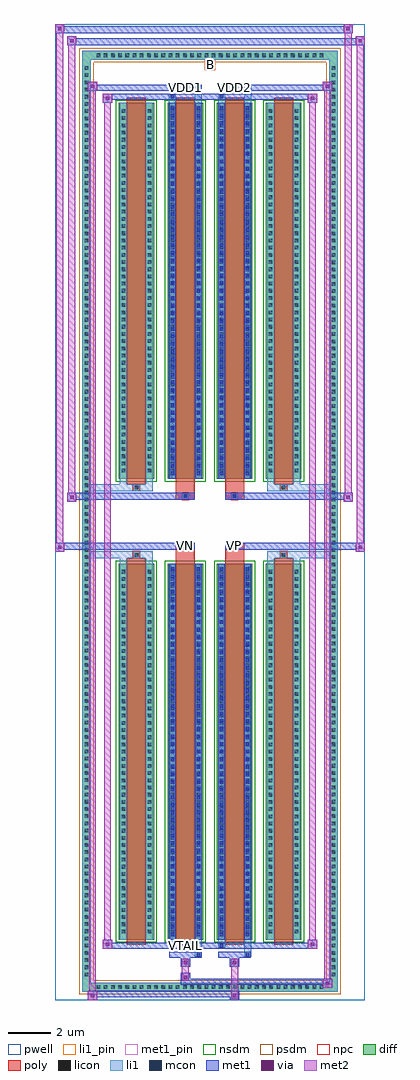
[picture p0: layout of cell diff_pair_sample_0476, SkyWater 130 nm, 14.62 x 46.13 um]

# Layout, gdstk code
import gdstk
lib = gdstk.Library(unit=1e-6, precision=5e-09)
def R(c, l, rs):  # rectangles x0, y0, x1, y1
    for r in rs: c.add(gdstk.rectangle(r[:2], r[2:], *l))
def A(c, l, x, y, w, h, nx, ny, dx, dy):  # array of equal rectangles
    R(c, l, [(x+i*dx, y+j*dy, x+i*dx+w, y+j*dy+h) for i in range(nx) for j in range(ny)])
def P(c, l, *ps):  # polygons
    for p in ps: c.add(gdstk.Polygon(p, *l))
pwell = (64, 44)
diff = (65, 20)
poly = (66, 20)
licon = (66, 44)
li1_pin = (67, 16)
li1 = (67, 20)
mcon = (67, 44)
met1_pin = (68, 16)
met1 = (68, 20)
via = (68, 44)
met2 = (69, 20)
nsdm = (93, 44)
psdm = (94, 20)
npc = (95, 20)

diff_pair_sample_0476 = lib.new_cell('diff_pair_sample_0476')
R(diff_pair_sample_0476, pwell, [(-7.31,-22.63,7.31,23.5), (-4.63,-20.82,-0.01,-0.82), (0.01,-20.82,4.63,-0.82), (-4.63,0.82,-0.01,20.82), (0.01,0.82,4.63,20.82)])
A(diff_pair_sample_0476, diff, -5.475, -22.23, 0.41, 0.41, 32, 2, 0.34, 44.05)
A(diff_pair_sample_0476, diff, -6.04, -21.625, 0.41, 0.41, 1, 127, 0, 0.34)
A(diff_pair_sample_0476, diff, 5.63, -21.625, 0.41, 0.41, 1, 127, 0, 0.34)
A(diff_pair_sample_0476, diff, -4.32, -19.775, 1.68, 17.77, 4, 2, 2.32, 21.78)
R(diff_pair_sample_0476, diff, [(-5.475,-22.23,5.475,-21.82), (-6.04,-21.625,-5.63,21.625), (5.63,-21.625,6.04,21.625), (-5.475,21.82,5.475,22.23)])
P(diff_pair_sample_0476, diff, [(6.04,22.23),(-6.04,22.23),(-6.04,-21.82),(-5.63,-21.82),(-5.63,21.82),(5.63,21.82),(5.63,-21.82),(-5.63,-21.82),(-6.04,-21.82),(-6.04,-22.23),(6.04,-22.23)])
A(diff_pair_sample_0476, poly, -3.93, -20.025, 0.9, 18.27, 4, 2, 2.32, 21.78)
R(diff_pair_sample_0476, poly, [(-3.645,-1.755,-3.315,-1.425), (-3.645,-1.755,-3.315,-1.425), (-1.61,-1.755,-0.71,-1.35), (0.71,-1.755,1.61,-1.35), (3.315,-1.755,3.645,-1.425), (3.315,-1.755,3.645,-1.425), (-1.61,-1.35,-0.71,-1.02), (-1.325,-1.35,-0.995,-1.02), (0.71,-1.35,1.61,-1.02), (0.995,-1.35,1.325,-1.02), (-1.61,1.02,-0.71,1.35), (-1.325,1.02,-0.995,1.35), (0.71,1.02,1.61,1.35), (0.995,1.02,1.325,1.35), (-1.61,1.35,-0.71,1.755), (0.71,1.35,1.61,1.755), (-3.645,1.425,-3.315,1.755), (-3.645,1.425,-3.315,1.755), (3.315,1.425,3.645,1.755), (3.315,1.425,3.645,1.755)])
A(diff_pair_sample_0476, licon, -5.355, -22.11, 0.17, 0.17, 32, 2, 0.34, 44.05)
A(diff_pair_sample_0476, licon, -5.92, -21.505, 0.17, 0.17, 1, 127, 0, 0.34)
A(diff_pair_sample_0476, licon, 5.75, -21.505, 0.17, 0.17, 1, 127, 0, 0.34)
A(diff_pair_sample_0476, licon, -4.18, -19.475, 0.17, 0.17, 1, 51, 0, 0.34)
A(diff_pair_sample_0476, licon, -2.95, -19.475, 0.17, 0.17, 1, 51, 0, 0.34)
A(diff_pair_sample_0476, licon, -1.86, -19.475, 0.17, 0.17, 1, 51, 0, 0.34)
A(diff_pair_sample_0476, licon, -0.63, -19.475, 0.17, 0.17, 1, 51, 0, 0.34)
A(diff_pair_sample_0476, licon, 0.46, -19.475, 0.17, 0.17, 1, 51, 0, 0.34)
A(diff_pair_sample_0476, licon, 1.69, -19.475, 0.17, 0.17, 1, 51, 0, 0.34)
A(diff_pair_sample_0476, licon, 2.78, -19.475, 0.17, 0.17, 1, 51, 0, 0.34)
A(diff_pair_sample_0476, licon, 4.01, -19.475, 0.17, 0.17, 1, 51, 0, 0.34)
A(diff_pair_sample_0476, licon, -4.18, 2.305, 0.17, 0.17, 1, 51, 0, 0.34)
A(diff_pair_sample_0476, licon, -2.95, 2.305, 0.17, 0.17, 1, 51, 0, 0.34)
A(diff_pair_sample_0476, licon, -1.86, 2.305, 0.17, 0.17, 1, 51, 0, 0.34)
A(diff_pair_sample_0476, licon, -0.63, 2.305, 0.17, 0.17, 1, 51, 0, 0.34)
A(diff_pair_sample_0476, licon, 0.46, 2.305, 0.17, 0.17, 1, 51, 0, 0.34)
A(diff_pair_sample_0476, licon, 1.69, 2.305, 0.17, 0.17, 1, 51, 0, 0.34)
A(diff_pair_sample_0476, licon, 2.78, 2.305, 0.17, 0.17, 1, 51, 0, 0.34)
A(diff_pair_sample_0476, licon, 4.01, 2.305, 0.17, 0.17, 1, 51, 0, 0.34)
R(diff_pair_sample_0476, licon, [(-3.565,-1.675,-3.395,-1.505), (3.395,-1.675,3.565,-1.505), (-1.245,-1.27,-1.075,-1.1), (1.075,-1.27,1.245,-1.1), (-1.245,1.1,-1.075,1.27), (1.075,1.1,1.245,1.27), (-3.565,1.505,-3.395,1.675), (3.395,1.505,3.565,1.675)])
R(diff_pair_sample_0476, li1_pin, [(-0.25,21.32,0.25,21.82)])
A(diff_pair_sample_0476, li1, -5.435, -22.19, 0.33, 0.33, 32, 2, 0.34, 44.05)
A(diff_pair_sample_0476, li1, -6, -21.585, 0.33, 0.33, 1, 127, 0, 0.34)
A(diff_pair_sample_0476, li1, 5.67, -21.585, 0.33, 0.33, 1, 127, 0, 0.34)
A(diff_pair_sample_0476, li1, -1.86, -19.615, 0.17, 0.17, 1, 49, 0, 0.36)
A(diff_pair_sample_0476, li1, -0.63, -19.615, 0.17, 0.17, 1, 49, 0, 0.36)
A(diff_pair_sample_0476, li1, 0.46, -19.615, 0.17, 0.17, 1, 49, 0, 0.36)
A(diff_pair_sample_0476, li1, 1.69, -19.615, 0.17, 0.17, 1, 49, 0, 0.36)
A(diff_pair_sample_0476, li1, -4.26, -19.555, 0.33, 0.33, 1, 51, 0, 0.34)
A(diff_pair_sample_0476, li1, -3.03, -19.555, 0.33, 0.33, 1, 51, 0, 0.34)
A(diff_pair_sample_0476, li1, -1.94, -19.555, 0.33, 0.33, 1, 51, 0, 0.34)
A(diff_pair_sample_0476, li1, -0.71, -19.555, 0.33, 0.33, 1, 51, 0, 0.34)
A(diff_pair_sample_0476, li1, 0.38, -19.555, 0.33, 0.33, 1, 51, 0, 0.34)
A(diff_pair_sample_0476, li1, 1.61, -19.555, 0.33, 0.33, 1, 51, 0, 0.34)
A(diff_pair_sample_0476, li1, 2.7, -19.555, 0.33, 0.33, 1, 51, 0, 0.34)
A(diff_pair_sample_0476, li1, 3.93, -19.555, 0.33, 0.33, 1, 51, 0, 0.34)
A(diff_pair_sample_0476, li1, -1.86, 2.165, 0.17, 0.17, 1, 49, 0, 0.36)
A(diff_pair_sample_0476, li1, -0.63, 2.165, 0.17, 0.17, 1, 49, 0, 0.36)
A(diff_pair_sample_0476, li1, 0.46, 2.165, 0.17, 0.17, 1, 49, 0, 0.36)
A(diff_pair_sample_0476, li1, 1.69, 2.165, 0.17, 0.17, 1, 49, 0, 0.36)
A(diff_pair_sample_0476, li1, -4.26, 2.225, 0.33, 0.33, 1, 51, 0, 0.34)
A(diff_pair_sample_0476, li1, -3.03, 2.225, 0.33, 0.33, 1, 51, 0, 0.34)
A(diff_pair_sample_0476, li1, -1.94, 2.225, 0.33, 0.33, 1, 51, 0, 0.34)
A(diff_pair_sample_0476, li1, -0.71, 2.225, 0.33, 0.33, 1, 51, 0, 0.34)
A(diff_pair_sample_0476, li1, 0.38, 2.225, 0.33, 0.33, 1, 51, 0, 0.34)
A(diff_pair_sample_0476, li1, 1.61, 2.225, 0.33, 0.33, 1, 51, 0, 0.34)
A(diff_pair_sample_0476, li1, 2.7, 2.225, 0.33, 0.33, 1, 51, 0, 0.34)
A(diff_pair_sample_0476, li1, 3.93, 2.225, 0.33, 0.33, 1, 51, 0, 0.34)
R(diff_pair_sample_0476, li1, [(-6.04,-22.23,-5.63,-21.82), (-6.04,-22.23,-5.63,-21.82), (-5.63,-22.23,5.63,-21.82), (5.63,-22.23,6.04,-21.82), (5.63,-22.23,6.04,-21.82), (-6.04,-21.82,-5.63,21.82), (5.63,-21.82,6.04,21.82), (-0.71,-20.58,-0.38,-19.775), (-0.63,-20.58,-0.46,-20.41), (1.61,-20.58,1.94,-19.775), (1.69,-20.58,1.86,-20.41), (-1.94,-20.15,-1.61,-19.775), (-1.86,-20.15,-1.69,-19.98), (0.38,-20.15,0.71,-19.775), (0.46,-20.15,0.63,-19.98), (-4.26,-19.775,-3.93,-2.005), (-3.03,-19.775,-2.7,-2.005), (-1.94,-19.775,-1.61,-2.005), (-0.71,-19.775,-0.38,-2.005), (0.38,-19.775,0.71,-2.005), (1.61,-19.775,1.94,-2.005), (2.7,-19.775,3.03,-2.005), (3.93,-19.775,4.26,-2.005), (-1.86,-19.615,-1.69,-2.165), (-0.63,-19.615,-0.46,-2.165), (0.46,-19.615,0.63,-2.165), (1.69,-19.615,1.86,-2.165), (-4.26,-2.005,-3.93,-1.425), (-3.03,-2.005,-2.7,-1.425), (2.7,-2.005,3.03,-1.425), (3.93,-2.005,4.26,-1.425), (-6.04,-1.755,-3.645,-1.425), (-4.26,-1.755,-3.645,-1.425), (-3.645,-1.755,-3.315,-1.425), (-3.315,-1.755,-2.7,-1.425), (2.7,-1.755,3.315,-1.425), (3.315,-1.755,3.645,-1.425), (3.315,-1.755,6.04,-1.425), (3.645,-1.755,4.26,-1.425), (-1.325,-1.35,-0.995,-1.02), (0.995,-1.35,1.325,-1.02), (-1.325,1.02,-0.995,1.35), (0.995,1.02,1.325,1.35), (-6.04,1.425,-3.645,1.755), (-4.26,1.425,-3.645,1.755), (-4.26,1.425,-3.93,2.005), (-3.645,1.425,-3.315,1.755), (-3.315,1.425,-2.7,1.755), (-3.03,1.425,-2.7,2.005), (2.7,1.425,3.315,1.755), (2.7,1.425,3.03,2.005), (3.315,1.425,3.645,1.755), (3.315,1.425,6.04,1.755), (3.645,1.425,4.26,1.755), (3.93,1.425,4.26,2.005), (-4.26,2.005,-3.93,19.775), (-3.03,2.005,-2.7,19.775), (-1.94,2.005,-1.61,19.775), (-0.71,2.005,-0.38,19.775), (0.38,2.005,0.71,19.775), (1.61,2.005,1.94,19.775), (2.7,2.005,3.03,19.775), (3.93,2.005,4.26,19.775), (-1.86,2.165,-1.69,19.615), (-0.63,2.165,-0.46,19.615), (0.46,2.165,0.63,19.615), (1.69,2.165,1.86,19.615), (-1.94,19.775,-1.61,20.15), (-0.71,19.775,-0.38,20.58), (0.38,19.775,0.71,20.15), (1.61,19.775,1.94,20.58), (-1.86,19.98,-1.69,20.15), (0.46,19.98,0.63,20.15), (-0.63,20.41,-0.46,20.58), (1.69,20.41,1.86,20.58), (-6.04,21.82,-5.63,22.23), (-6.04,21.82,-5.63,22.23), (-5.63,21.82,5.63,22.23), (5.63,21.82,6.04,22.23), (5.63,21.82,6.04,22.23)])
A(diff_pair_sample_0476, mcon, -1.86, -19.615, 0.17, 0.17, 1, 49, 0, 0.36)
A(diff_pair_sample_0476, mcon, -0.63, -19.615, 0.17, 0.17, 1, 49, 0, 0.36)
A(diff_pair_sample_0476, mcon, 0.46, -19.615, 0.17, 0.17, 1, 49, 0, 0.36)
A(diff_pair_sample_0476, mcon, 1.69, -19.615, 0.17, 0.17, 1, 49, 0, 0.36)
A(diff_pair_sample_0476, mcon, -1.86, 2.165, 0.17, 0.17, 1, 49, 0, 0.36)
A(diff_pair_sample_0476, mcon, -0.63, 2.165, 0.17, 0.17, 1, 49, 0, 0.36)
A(diff_pair_sample_0476, mcon, 0.46, 2.165, 0.17, 0.17, 1, 49, 0, 0.36)
A(diff_pair_sample_0476, mcon, 1.69, 2.165, 0.17, 0.17, 1, 49, 0, 0.36)
R(diff_pair_sample_0476, mcon, [(-0.63,-20.58,-0.46,-20.41), (1.69,-20.58,1.86,-20.41), (-1.86,-20.15,-1.69,-19.98), (0.46,-20.15,0.63,-19.98), (-1.245,-1.27,-1.075,-1.1), (1.075,-1.27,1.245,-1.1), (-1.245,1.1,-1.075,1.27), (1.075,1.1,1.245,1.27), (-1.86,19.98,-1.69,20.15), (0.46,19.98,0.63,20.15), (-0.63,20.41,-0.46,20.58), (1.69,20.41,1.86,20.58)])
R(diff_pair_sample_0476, met1_pin, [(-1.295,-20.19,-1.025,-19.92), (-1.295,-1.29,-1.025,-1.02), (1.025,-1.29,1.295,-1.02), (-1.295,20.37,-1.025,20.64), (1.025,20.37,1.295,20.64)])
A(diff_pair_sample_0476, met1, -1.92, -19.675, 0.29, 0.29, 1, 49, 0, 0.36)
A(diff_pair_sample_0476, met1, -0.69, -19.675, 0.29, 0.29, 1, 49, 0, 0.36)
A(diff_pair_sample_0476, met1, 0.4, -19.675, 0.29, 0.29, 1, 49, 0, 0.36)
A(diff_pair_sample_0476, met1, 1.63, -19.675, 0.29, 0.29, 1, 49, 0, 0.36)
A(diff_pair_sample_0476, met1, -1.92, 2.105, 0.29, 0.29, 1, 49, 0, 0.36)
A(diff_pair_sample_0476, met1, -0.69, 2.105, 0.29, 0.29, 1, 49, 0, 0.36)
A(diff_pair_sample_0476, met1, 0.4, 2.105, 0.29, 0.29, 1, 49, 0, 0.36)
A(diff_pair_sample_0476, met1, 1.63, 2.105, 0.29, 0.29, 1, 49, 0, 0.36)
R(diff_pair_sample_0476, met1, [(-5.77,-22.63,-5.34,-22.2), (0.945,-22.63,1.375,-22.2), (-5.77,-22.49,1.375,-22.2), (5.34,-22.06,5.77,-21.63), (-1.375,-21.92,5.77,-21.63), (-1.375,-21.78,-0.945,-21.35), (-1.375,-21.07,-0.945,-20.64), (0.945,-21.07,1.375,-20.64), (-1.92,-20.64,-0.4,-20.35), (-0.69,-20.64,-0.4,-20.35), (0.4,-20.64,1.92,-20.35), (1.63,-20.64,1.92,-20.35), (-5.06,-20.21,-4.63,-19.78), (-5.06,-20.21,-1.92,-19.92), (-1.92,-20.21,-1.63,-19.92), (-1.92,-20.21,-0.4,-19.92), (-0.4,-20.21,0.4,-19.92), (0.4,-20.21,0.69,-19.92), (0.4,-20.21,1.92,-19.92), (1.92,-20.21,5.06,-19.92), (4.63,-20.21,5.06,-19.78), (-1.92,-19.775,-1.63,-2.005), (-0.69,-19.775,-0.4,-2.005), (0.4,-19.775,0.69,-2.005), (1.63,-19.775,1.92,-2.005), (-7.31,-1.45,-6.88,-1.02), (6.88,-1.45,7.31,-1.02), (-7.31,-1.35,-0.71,-1.02), (-1.61,-1.35,-0.71,-1.02), (0.71,-1.35,1.61,-1.02), (0.71,-1.35,7.31,-1.02), (-1.305,-1.33,-1.015,-1.04), (1.015,-1.33,1.305,-1.04), (-6.74,0.92,-6.31,1.35), (6.31,0.92,6.74,1.35), (-6.74,1.02,-1.61,1.35), (-1.61,1.02,-0.71,1.35), (0.71,1.02,1.61,1.35), (1.61,1.02,6.74,1.35), (-1.305,1.04,-1.015,1.33), (1.015,1.04,1.305,1.33), (-1.92,2.005,-1.63,19.775), (-0.69,2.005,-0.4,19.775), (0.4,2.005,0.69,19.775), (1.63,2.005,1.92,19.775), (-5.06,19.78,-4.63,20.21), (4.63,19.78,5.06,20.21), (-5.06,19.92,-1.92,20.21), (-1.92,19.92,-1.63,20.21), (-1.92,19.92,-0.4,20.21), (-0.4,19.92,0.4,20.21), (0.4,19.92,0.69,20.21), (0.4,19.92,1.92,20.21), (1.92,19.92,5.06,20.21), (-5.77,20.35,-5.34,20.78), (-5.77,20.35,-1.92,20.64), (-1.92,20.35,-0.4,20.64), (-0.69,20.35,-0.4,20.64), (0.4,20.35,1.92,20.64), (1.63,20.35,1.92,20.64), (1.92,20.35,5.77,20.64), (5.34,20.35,5.77,20.78), (-6.74,22.5,-6.31,22.93), (-6.74,22.5,-4.63,22.83), (-4.63,22.5,4.63,22.83), (4.63,22.5,7.31,22.83), (6.88,22.5,7.31,22.93), (-7.31,23.07,-6.88,23.5), (-7.31,23.07,-4.63,23.4), (-4.63,23.07,4.63,23.4), (4.63,23.07,6.74,23.4), (6.31,23.07,6.74,23.5)])
R(diff_pair_sample_0476, via, [(-5.63,-22.49,-5.48,-22.34), (1.085,-22.49,1.235,-22.34), (5.48,-21.92,5.63,-21.77), (-1.235,-21.64,-1.085,-21.49), (-1.235,-20.93,-1.085,-20.78), (1.085,-20.93,1.235,-20.78), (-4.92,-20.07,-4.77,-19.92), (4.77,-20.07,4.92,-19.92), (-7.17,-1.31,-7.02,-1.16), (7.02,-1.31,7.17,-1.16), (-6.6,1.06,-6.45,1.21), (6.45,1.06,6.6,1.21), (-4.92,19.92,-4.77,20.07), (4.77,19.92,4.92,20.07), (-5.63,20.49,-5.48,20.64), (5.48,20.49,5.63,20.64), (-6.6,22.64,-6.45,22.79), (7.02,22.64,7.17,22.79), (-7.17,23.21,-7.02,23.36), (6.45,23.21,6.6,23.36)])
R(diff_pair_sample_0476, met2, [(-5.77,-22.63,-5.34,-22.2), (-5.7,-22.63,-5.41,20.78), (-5.41,-22.63,-5.34,-22.2), (-5.72,-22.58,-5.39,-22.25), (0.995,-22.58,1.325,-22.25), (0.995,-22.25,1.325,-21.02), (5.34,-22.06,5.77,-21.63), (5.41,-22.06,5.7,20.78), (5.7,-22.06,5.77,-21.63), (5.39,-22.01,5.72,-21.68), (-1.325,-21.73,-0.995,-21.4), (-1.325,-21.4,-0.995,-21.02), (-1.325,-21.02,-0.995,-20.69), (0.995,-21.02,1.325,-20.69), (-5.06,-20.21,-4.63,-19.78), (-4.99,-20.21,-4.7,20.21), (-4.7,-20.21,-4.63,-19.78), (4.63,-20.21,5.06,-19.78), (4.7,-20.21,4.99,20.21), (4.99,-20.21,5.06,-19.78), (-5.01,-20.16,-4.68,-19.83), (4.68,-20.16,5.01,-19.83), (-7.31,-1.45,-6.88,-1.02), (-7.26,-1.45,-6.93,23.5), (-6.93,-1.45,-6.88,-1.02), (6.88,-1.45,7.31,-1.02), (6.93,-1.45,7.26,22.93), (7.26,-1.45,7.31,-1.02), (-7.26,-1.4,-6.93,-1.07), (6.93,-1.4,7.26,-1.07), (-6.74,0.92,-6.31,1.35), (-6.69,0.92,-6.36,22.93), (-6.36,0.92,-6.31,1.35), (6.31,0.92,6.74,1.35), (6.36,0.92,6.69,23.5), (6.69,0.92,6.74,1.35), (-6.69,0.97,-6.36,1.3), (6.36,0.97,6.69,1.3), (-5.06,19.78,-4.63,20.21), (-4.7,19.78,-4.63,20.21), (4.63,19.78,5.06,20.21), (4.99,19.78,5.06,20.21), (-5.01,19.83,-4.68,20.16), (4.68,19.83,5.01,20.16), (-5.77,20.35,-5.34,20.78), (-5.41,20.35,-5.34,20.78), (5.34,20.35,5.77,20.78), (5.7,20.35,5.77,20.78), (-5.72,20.4,-5.39,20.73), (5.39,20.4,5.72,20.73), (-6.74,22.5,-6.31,22.93), (-6.36,22.5,-6.31,22.93), (6.88,22.5,7.31,22.93), (7.26,22.5,7.31,22.93), (-6.69,22.55,-6.36,22.88), (6.93,22.55,7.26,22.88), (-7.31,23.07,-6.88,23.5), (-6.93,23.07,-6.88,23.5), (6.31,23.07,6.74,23.5), (6.69,23.07,6.74,23.5), (-7.26,23.12,-6.93,23.45), (6.36,23.12,6.69,23.45)])
A(diff_pair_sample_0476, nsdm, -4.45, -19.905, 1.94, 18.03, 4, 2, 2.32, 21.78)
P(diff_pair_sample_0476, psdm, [(6.17,22.36),(-6.17,22.36),(-6.17,-21.69),(-5.5,-21.69),(-5.5,21.69),(5.5,21.69),(5.5,-21.69),(-5.5,-21.69),(-6.17,-21.69),(-6.17,-22.36),(6.17,-22.36)])
R(diff_pair_sample_0476, npc, [(-3.665,-1.775,-3.295,-1.405), (3.295,-1.775,3.665,-1.405), (-1.345,-1.37,-0.975,-1), (0.975,-1.37,1.345,-1), (-1.345,1,-0.975,1.37), (0.975,1,1.345,1.37), (-3.665,1.405,-3.295,1.775), (3.295,1.405,3.665,1.775)])
diff_pair_sample_0476.add(gdstk.Label('VTAIL', (-1.16,-20.055), layer=68, texttype=5))
diff_pair_sample_0476.add(gdstk.Label('VN', (-1.16,-1.155), layer=68, texttype=5))
diff_pair_sample_0476.add(gdstk.Label('VP', (1.16,-1.155), layer=68, texttype=5))
diff_pair_sample_0476.add(gdstk.Label('B', (0,21.57), layer=67, texttype=5))
diff_pair_sample_0476.add(gdstk.Label('VDD2', (1.16,20.505), layer=68, texttype=5))
diff_pair_sample_0476.add(gdstk.Label('VDD1', (-1.16,20.505), layer=68, texttype=5))

lib.write_gds('diff_pair_sample_0476.gds')
